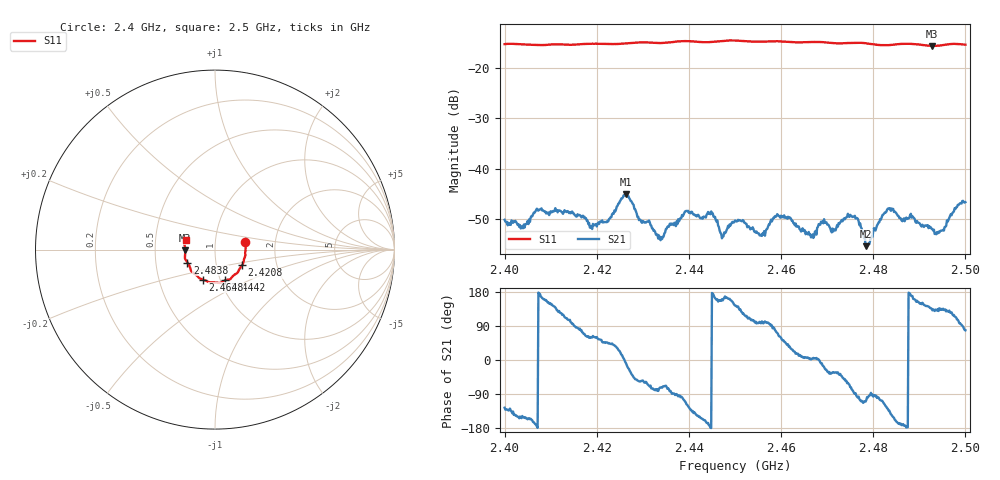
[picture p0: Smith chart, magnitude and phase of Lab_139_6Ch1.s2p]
# Hz S RI R 50
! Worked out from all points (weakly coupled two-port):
!   601 points, 2.4 GHz to 2.5 GHz, reference 50 ohm
!   highest |S21| = -45.16 dB at 2.4263 GHz (marker M1); lowest = -55.4 dB at 2.4783 GHz (marker M2)
!   lowest |S11| = -15.6 dB at 2.4928 GHz (marker M3), VSWR 1.40, Z = 35.8 - j0.35 ohm
!   |S11| at or under -10 dB: start of sweep to end of sweep
!   S12 and S22 are empty: the file has one direction only
!   S11 on the Smith chart (normalised r, x): 2.4 GHz: 1.40, +0.12; 2.4208 GHz: 1.33, -0.24; 2.4442 GHz: 1.05, -0.37; 2.4648 GHz: 0.83, -0.29; 2.4838 GHz: 0.73, -0.11; 2.5 GHz: 0.72, +0.08
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2.4e9  0.1677 0.0411  -0.00181 -0.0025  0 0  0 0
2.404e9  0.1709 0.0171  -0.00222 -0.00125  0 0  0 0
2.4075e9  0.1688 -0.0135  -0.0039 0.000313  0 0  0 0
2.416667e9  0.159 -0.068  0.000643 0.0032  0 0  0 0
2.420833e9  0.1505 -0.087  0.00178 0.00237  0 0  0 0
2.426333e9  0.1323 -0.1161  0.00546 -0.000804  0 0  0 0
2.433333e9  0.1078 -0.1403  0.000289 -0.00199  0 0  0 0
2.439333e9  0.0842 -0.1649  -0.00147 -0.00348  0 0  0 0
2.444167e9  0.0566 -0.1715  -0.00359 -0.00088  0 0  0 0
2.447333e9  0.0357 -0.1822  -0.00194 0.000809  0 0  0 0
2.45e9  0.0246 -0.186  -0.00245 0.00181  0 0  0 0
2.455667e9  -0.0118 -0.182  -0.000272 0.00218  0 0  0 0
2.4595e9  -0.0329 -0.1814  0.00151 0.00302  0 0  0 0
2.464833e9  -0.0683 -0.1668  0.00236 0.000321  0 0  0 0
2.466667e9  -0.08 -0.1628  0.00212 0.000124  0 0  0 0
2.475e9  -0.1223 -0.1287  0.0011 -0.00328  0 0  0 0
2.478333e9  -0.135 -0.1134  -0.000573 -0.00159  0 0  0 0
2.483333e9  -0.1506 -0.0762  -0.00276 -0.00292  0 0  0 0
2.483833e9  -0.1534 -0.0722  -0.00303 -0.00228  0 0  0 0
2.492833e9  -0.1658 -0.00476  -0.00164 0.00188  0 0  0 0
2.494833e9  -0.1675 0.0158  -0.00163 0.00178  0 0  0 0
2.5e9  -0.1623 0.053  0.000933 0.00454  0 0  0 0
